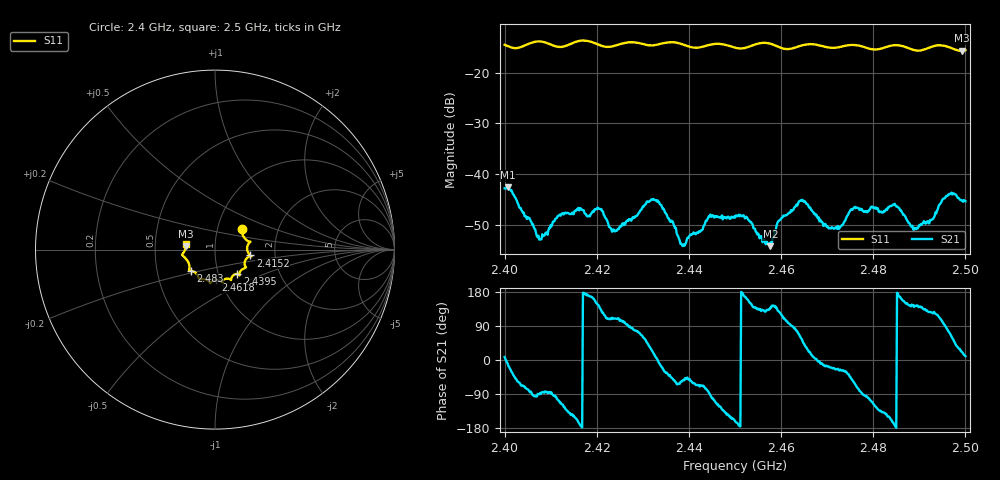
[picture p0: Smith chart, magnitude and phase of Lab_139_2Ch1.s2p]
# Hz S RI R 50
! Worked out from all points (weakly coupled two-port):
!   601 points, 2.4 GHz to 2.5 GHz, reference 50 ohm
!   highest |S21| = -42.56 dB at 2.4007 GHz (marker M1); lowest = -54.2 dB at 2.4577 GHz (marker M2)
!   lowest |S11| = -15.7 dB at 2.4992 GHz (marker M3), VSWR 1.39, Z = 36 + j1.32 ohm
!   |S11| at or under -10 dB: start of sweep to end of sweep
!   S12 and S22 are empty: the file has one direction only
!   S11 on the Smith chart (normalised r, x): 2.4 GHz: 1.31, +0.31; 2.4152 GHz: 1.48, -0.10; 2.4395 GHz: 1.23, -0.34; 2.4618 GHz: 0.95, -0.33; 2.483 GHz: 0.74, -0.18; 2.5 GHz: 0.72, +0.05
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2.4e9  0.15 0.1136  0.00717 0.000981  0 0  0 0
2.400667e9  0.1501 0.1041  0.00735 -0.00122  0 0  0 0
2.4075e9  0.1979 0.0439  -1.49e-05 -0.00227  0 0  0 0
2.415167e9  0.1961 -0.0328  -0.00376 -0.00213  0 0  0 0
2.416667e9  0.2034 -0.0376  -0.00445 -0.000355  0 0  0 0
2.420667e9  0.1808 -0.0442  -0.00335 0.00309  0 0  0 0
2.423833e9  0.165 -0.0798  -0.000894 0.00258  0 0  0 0
2.433333e9  0.1365 -0.1314  0.00532 -0.000381  0 0  0 0
2.4395e9  0.1241 -0.1353  0.00149 -0.00164  0 0  0 0
2.444667e9  0.0891 -0.1661  -0.000198 -0.004  0 0  0 0
2.45e9  0.0694 -0.1619  -0.00354 -0.00119  0 0  0 0
2.457667e9  0.0436 -0.1877  -0.00146 0.0013  0 0  0 0
2.461833e9  0.00406 -0.1709  -0.0004 0.00414  0 0  0 0
2.466667e9  -0.0262 -0.1889  0.00429 0.000996  0 0  0 0
2.471667e9  -0.0572 -0.1659  0.00267 -0.00118  0 0  0 0
2.475667e9  -0.087 -0.1657  0.00256 -0.00382  0 0  0 0
2.483e9  -0.1355 -0.1181  -0.00372 -0.00243  0 0  0 0
2.483333e9  -0.1383 -0.1179  -0.00403 -0.00239  0 0  0 0
2.489167e9  -0.145 -0.0799  -0.0023 0.00177  0 0  0 0
2.496333e9  -0.1776 -0.02  0.00159 0.00611  0 0  0 0
2.499167e9  -0.1628 0.0178  0.0051 0.00214  0 0  0 0
2.5e9  -0.1629 0.0328  0.00533 0.00095  0 0  0 0
